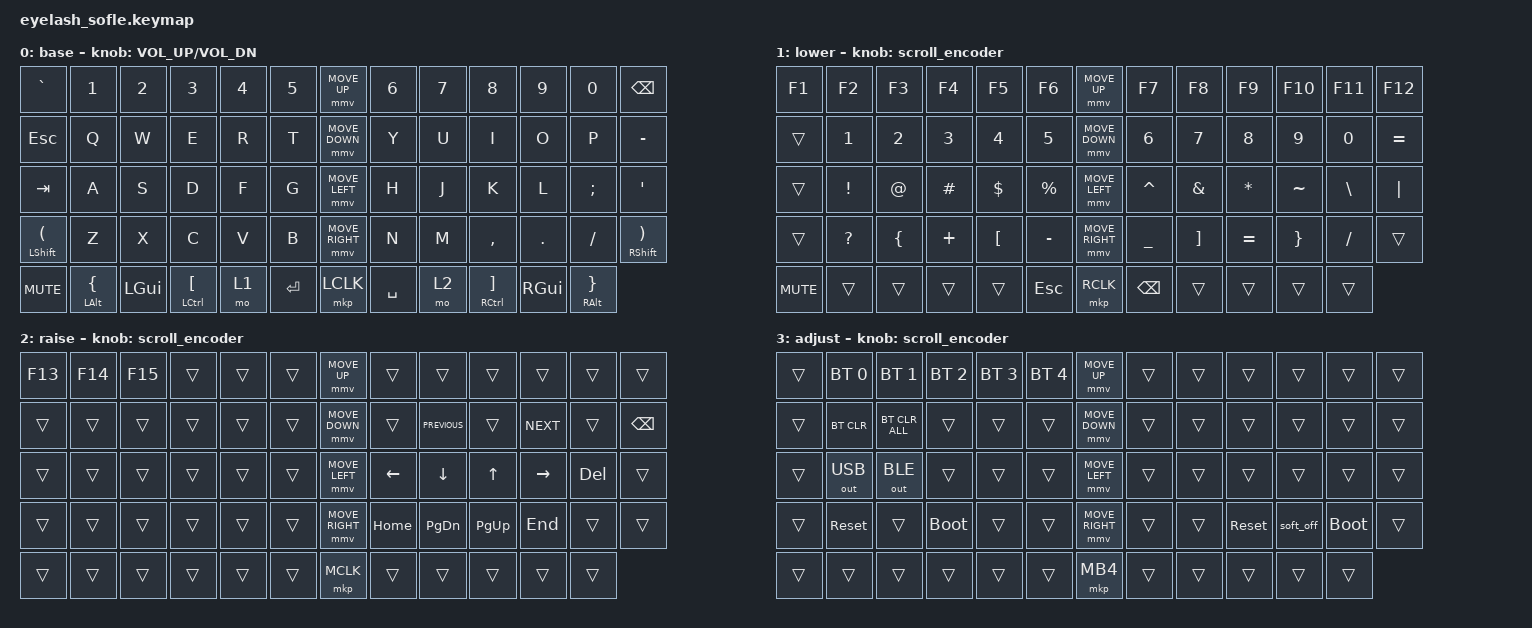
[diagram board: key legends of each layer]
#define ZMK_POINTING_DEFAULT_MOVE_VAL 1200  // 600
#define ZMK_POINTING_DEFAULT_SCRL_VAL 25   // 10

#include <input/processors.dtsi>
#include <zephyr/dt-bindings/input/input-event-codes.h>
#include <behaviors.dtsi>
#include <dt-bindings/zmk/bt.h>
#include <dt-bindings/zmk/keys.h>
#include <dt-bindings/zmk/outputs.h>
#include <dt-bindings/zmk/pointing.h>

&mmv_input_listener { input-processors = <&zip_xy_scaler 2 1>; };

&msc_input_listener { input-processors = <&zip_scroll_scaler 2 1>; };

&msc {
    acceleration-exponent = <1>;      // 0
    time-to-max-speed-ms = <100>;       // 300
    delay-ms = <0>;                   // 0
};

&mmv {
    time-to-max-speed-ms = <500>;
    acceleration-exponent = <1>;
    trigger-period-ms = <16>;
};

/ {
    scroll_encoder: scroll_encoder {
        compatible = "zmk,behavior-sensor-rotate";
        #sensor-binding-cells = <0>;
        bindings = <&msc SCRL_DOWN>, <&msc SCRL_UP>;

        tap-ms = <100>;
    };

    combos {
        compatible = "zmk,combos";

        combo_caps {
            bindings = <&kp CAPS>;
            key-positions = <39 51>;
        };
    };

    behaviors {
    };

    keymap {
        compatible = "zmk,keymap";

        base {
            bindings = <
&kp GRAVE                   &kp N1                   &kp N2        &kp N3                         &kp N4  &kp N5       &mmv MOVE_UP     &kp N6     &kp N7  &kp N8                           &kp N9         &kp N0                     &kp BACKSPACE
&kp ESCAPE                  &kp Q                    &kp W         &kp E                          &kp R   &kp T        &mmv MOVE_DOWN   &kp Y      &kp U   &kp I                            &kp O          &kp P                      &kp MINUS
&kp TAB                     &kp A                    &kp S         &kp D                          &kp F   &kp G        &mmv MOVE_LEFT   &kp H      &kp J   &kp K                            &kp L          &kp SEMICOLON              &kp APOS
&mt LSHFT LEFT_PARENTHESIS  &kp Z                    &kp X         &kp C                          &kp V   &kp B        &mmv MOVE_RIGHT  &kp N      &kp M   &kp COMMA                        &kp DOT        &kp SLASH                  &mt RIGHT_SHIFT RIGHT_PARENTHESIS
&kp C_MUTE                  &mt LEFT_ALT LEFT_BRACE  &kp LEFT_GUI  &mt LEFT_CONTROL LEFT_BRACKET  &mo 1   &kp ENTER    &mkp LCLK        &kp SPACE  &mo 2   &mt RIGHT_CONTROL RIGHT_BRACKET  &kp RIGHT_GUI  &mt RIGHT_ALT RIGHT_BRACE
            >;

            sensor-bindings = <&inc_dec_kp C_VOLUME_UP C_VOL_DN>;
            display-name = "base";
        };

        lower {
            bindings = <
&kp F1      &kp F2           &kp F3        &kp F4        &kp F5        &kp F6          &mmv MOVE_UP     &kp F7     &kp F8    &kp F9     &kp F10    &kp F11    &kp F12
&trans      &kp NUMBER_1     &kp NUMBER_2  &kp NUMBER_3  &kp NUMBER_4  &kp NUMBER_5    &mmv MOVE_DOWN   &kp N6     &kp N7    &kp N8     &kp N9     &kp N0     &kp EQUAL
&trans      &kp EXCLAMATION  &kp AT_SIGN   &kp HASH      &kp DOLLAR    &kp PERCENT     &mmv MOVE_LEFT   &kp CARET  &kp AMPS  &kp STAR   &kp TILDE  &kp BSLH   &kp PIPE
&trans      &kp QUESTION     &kp LBRC      &kp PLUS      &kp LBKT      &kp MINUS       &mmv MOVE_RIGHT  &kp UNDER  &kp RBKT  &kp EQUAL  &kp RBRC   &kp SLASH  &trans
&kp C_MUTE  &trans           &trans        &trans        &trans        &kp ESCAPE      &mkp RCLK        &kp BSPC   &trans    &trans     &trans     &trans
            >;

            display-name = "lower";
            sensor-bindings = <&scroll_encoder>;
        };

        raise {
            bindings = <
&kp F13  &kp F14 &kp F15 &trans  &trans  &trans    &mmv MOVE_UP     &trans    &trans          &trans     &trans      &trans  &trans
&trans   &trans  &trans  &trans  &trans  &trans    &mmv MOVE_DOWN   &trans    &kp K_PREVIOUS  &trans     &kp K_NEXT  &trans  &kp BACKSPACE
&trans   &trans  &trans  &trans  &trans  &trans    &mmv MOVE_LEFT   &kp LEFT  &kp DOWN        &kp UP     &kp RIGHT   &kp DEL &trans
&trans   &trans  &trans  &trans  &trans  &trans    &mmv MOVE_RIGHT  &kp HOME  &kp PG_DN       &kp PG_UP  &kp END     &trans  &trans
&trans   &trans  &trans  &trans  &trans  &trans    &mkp MCLK        &trans    &trans          &trans     &trans      &trans
            >;

            display-name = "raise";
            sensor-bindings = <&scroll_encoder>;

        };

        adjust {
            bindings = <
&trans     &bt BT_SEL 0  &bt BT_SEL 1    &bt BT_SEL 2  &bt BT_SEL 3  &bt BT_SEL 4    &mmv MOVE_UP     &trans  &trans  &trans      &trans     &trans       &trans
&trans     &bt BT_CLR    &bt BT_CLR_ALL  &trans        &trans        &trans          &mmv MOVE_DOWN   &trans  &trans  &trans      &trans     &trans       &trans
&trans     &out OUT_USB  &out OUT_BLE    &trans        &trans        &trans          &mmv MOVE_LEFT   &trans  &trans  &trans      &trans     &trans       &trans
&trans     &sys_reset    &trans          &bootloader   &trans        &trans          &mmv MOVE_RIGHT  &trans  &trans  &sys_reset  &soft_off  &bootloader  &trans
&trans     &trans        &trans          &trans        &trans        &trans          &mkp MB4         &trans  &trans  &trans      &trans     &trans
            >;

            label = "adjust";
            sensor-bindings = <&scroll_encoder>;
        };
    };

    conditional_layers {
        compatible = "zmk,conditional-layers";

        tri-layer {
            if-layers = <1 2>;
            then-layer = <3>;
        };
    };
};
